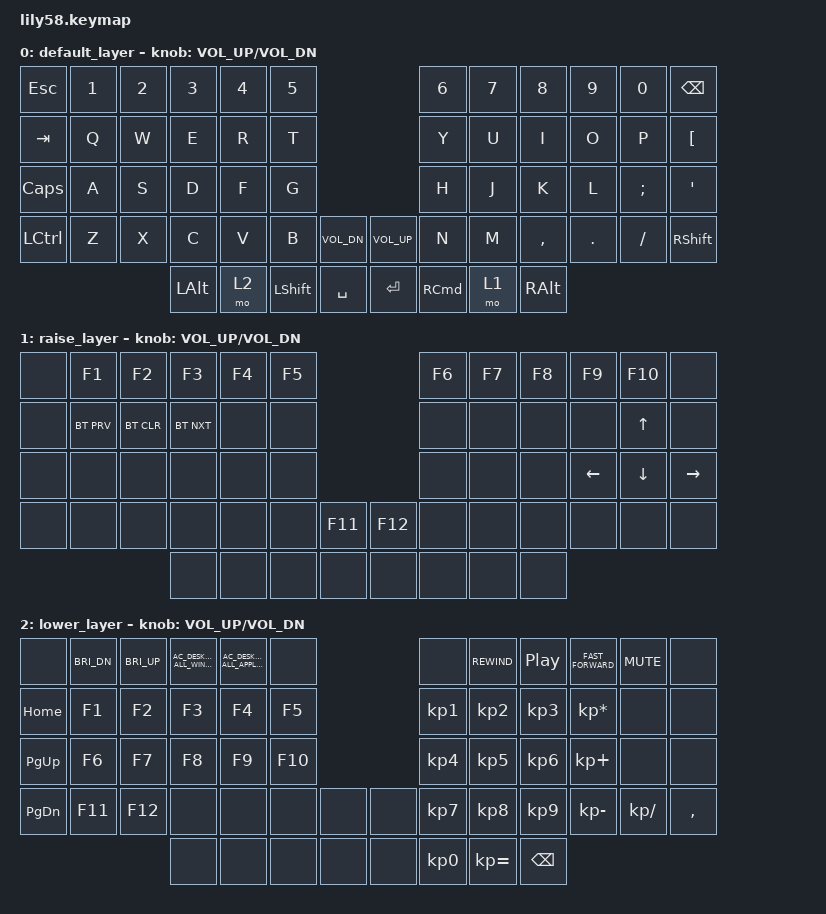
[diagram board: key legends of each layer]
/*
 * Copyright (c) 2020 The ZMK Contributors
 *chilllee
 * SPDX-License-Identifier: MIT
 */

#include <behaviors.dtsi>
#include <dt-bindings/zmk/keys.h>
#include <dt-bindings/zmk/bt.h>

/ {
    keymap {
        compatible = "zmk,keymap";

        default_layer {
            // ------------------------------------------------------------------------------------------------------------
            // |  ESC  |  1  |  2  |  3   |  4   |  5   |                   |  6   |  7    |  8    |  9   |   0   |   `   |
            // |  TAB  |  Q  |  W  |  E   |  R   |  T   |                   |  Y   |  U    |  I    |  O   |   P   |   -   |
            // |  CTRL |  A  |  S  |  D   |  F   |  G   |                   |  H   |  J    |  K    |  L   |   ;   |   '   |
            // | SHIFT |  Z  |  X  |  C   |  V   |  B   |   "["  |  |  "]"  |  N   |  M    |  ,    |  .   |   /   | SHIFT |
            //                     | ALT  | GUI  | LOWER|  SPACE |  | ENTER | RAISE| BSPC  | GUI   |

            bindings = <
  &kp ESC  &kp N1  &kp N2    &kp N3  &kp N4          &kp N5                                         &kp N6  &kp N7     &kp N8   &kp N9     &kp N0     &kp BACKSPACE
  &kp TAB   &kp Q   &kp W     &kp E   &kp R           &kp T                                          &kp Y   &kp U      &kp I    &kp O      &kp P  &kp LEFT_BRACKET
 &kp CAPS   &kp A   &kp S     &kp D   &kp F           &kp G                                          &kp H   &kp J      &kp K    &kp L   &kp SEMI          &kp APOS
&kp LCTRL   &kp Z   &kp X     &kp C   &kp V           &kp B  &kp C_VOL_DN  &kp C_VOL_UP              &kp N   &kp M  &kp COMMA  &kp DOT  &kp SLASH         &kp RSHFT
                           &kp LALT   &mo 2  &kp LEFT_SHIFT     &kp SPACE       &kp RET  &kp RIGHT_COMMAND   &mo 1   &kp RALT
            >;

            sensor-bindings = <&inc_dec_kp C_VOL_UP C_VOL_DN>;
        };

        raise_layer {
            // ------------------------------------------------------------------------------------------------------------
            // | BTCLR | BT1 | BT2 |  BT3 |  BT4 |  BT5 |                   |      |       |       |      |       |       |
            // |  F1   |  F2 |  F3 |  F4  |  F5  |  F6  |                   |  F7  |  F8   |  F9   |  F10 |  F11  |  F12  |
            // |   `   |  !  |  @  |  #   |  $   |  %   |                   |  ^   |  &    |  *    |  (   |   )   |   ~   |
            // |       |     |     |      |      |      |        |  |       |      |  _    |  +    |  {   |   }   |  "|"  |
            //                     |      |      |      |        |  |       |      |       |       |

            bindings = <
&none      &kp F1      &kp F2      &kp F3  &kp F4  &kp F5                    &kp F6  &kp F7  &kp F8          &kp F9         &kp F10            &none
&none  &bt BT_PRV  &bt BT_CLR  &bt BT_NXT   &none   &none                     &none   &none   &none           &none    &kp UP_ARROW            &none
&none       &none       &none       &none   &none   &none                     &none   &none   &none  &kp LEFT_ARROW  &kp DOWN_ARROW  &kp RIGHT_ARROW
&none       &none       &none       &none   &none   &none  &kp F11  &kp F12   &none   &none   &none           &none           &none            &none
                                    &none   &none   &none    &none    &none   &none   &none   &none
            >;

            sensor-bindings = <&inc_dec_kp C_VOL_UP C_VOL_DN>;
        };

        lower_layer {
            // ------------------------------------------------------------------------------------------------------------
            // |       |     |     |      |      |      |                   |      |       |       |      |       |       |
            // |   `   |  1  |  2  |  3   |  4   |  5   |                   |  6   |   7   |   8   |  9   |   0   |       |
            // |   F1  |  F2 |  F3 |  F4  |  F5  |  F6  |                   |      |   <-  |   v   |  ^   |  ->   |       |
            // |   F7  |  F8 |  F9 |  F10 |  F11 |  F12 |        |  |       |  +   |   -   |   =   |  [   |   ]   |   \   |
            //                     |      |      |      |        |  |       |      |       |       |

            bindings = <
    &none  &kp C_BRI_DN  &kp C_BRI_UP  &kp C_AC_DESKTOP_SHOW_ALL_WINDOWS  &kp C_AC_DESKTOP_SHOW_ALL_APPLICATIONS    &none                    &none  &kp C_REWIND  &kp C_PLAY_PAUSE  &kp C_FAST_FORWARD    &kp C_MUTE      &none
 &kp HOME        &kp F1        &kp F2                             &kp F3                                  &kp F4   &kp F5                &kp KP_N1     &kp KP_N2         &kp KP_N3     &kp KP_MULTIPLY         &none      &none
&kp PG_UP        &kp F6        &kp F7                             &kp F8                                  &kp F9  &kp F10                &kp KP_N4     &kp KP_N5         &kp KP_N6         &kp KP_PLUS         &none      &none
&kp PG_DN       &kp F11       &kp F12                              &none                                   &none    &none  &none  &none  &kp KP_N7     &kp KP_N8         &kp KP_N9        &kp KP_MINUS  &kp KP_SLASH  &kp COMMA
                                                                   &none                                   &none    &none  &none  &none  &kp KP_N0  &kp KP_EQUAL     &kp BACKSPACE
            >;

            sensor-bindings = <&inc_dec_kp C_VOL_UP C_VOL_DN>;
        };
    };
};
